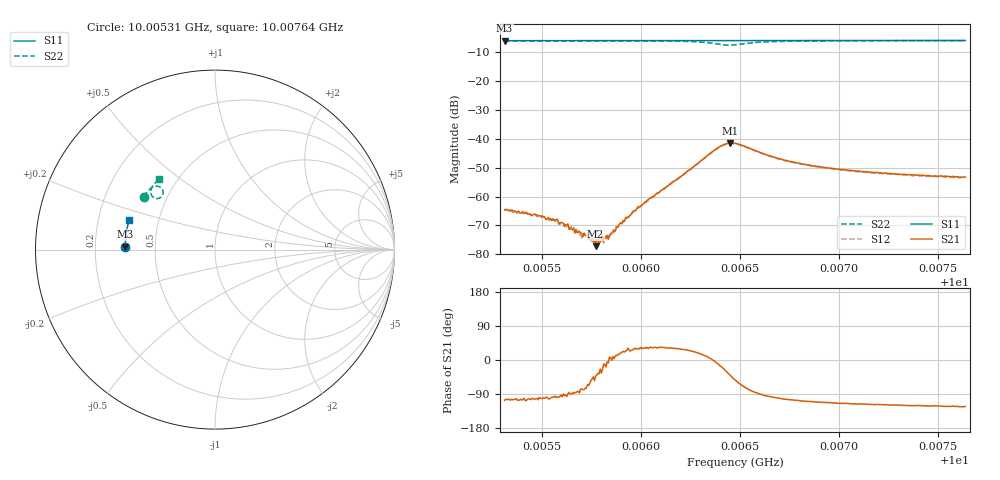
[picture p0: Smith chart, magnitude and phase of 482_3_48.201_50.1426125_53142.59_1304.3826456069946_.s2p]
#  HZ  S  RI  R  50.00
! Rohde & Schwarz Vector Network Analyzer
! Rohde-Schwarz,ZNB20-2Port,1311601062101988,3.16
! Created: UTC 3/20/2024, 11:57:43 AM
! freq[Hz]  re:S11  im:S11  re:S21  im:S21  re:S12  im:S12  re:S22  im:S22
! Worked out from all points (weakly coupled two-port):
!   401 points, 10.00531 GHz to 10.00764 GHz, reference 50 ohm
!   highest |S21| = -41.47 dB at 10.00645 GHz (marker M1); lowest = -77.2 dB at 10.00577 GHz (marker M2)
!   lowest |S11| = -6.0 dB at 10.00531 GHz (marker M3), VSWR 3.01, Z = 16.6 + j0.764 ohm
!   |S11| at or under -10 dB: nowhere
!   |S22| runs from -7.5 to -6.0 dB; largest |S21 - S12| = 0.00052
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1.0005312e10  -0.5004 0.0172  -0.000165 -0.000557  -0.000103 -0.000584  -0.398 0.2954
1.0005504e10  -0.5003 0.0299  -8.79e-05 -0.000445  -4.69e-05 -0.00046  -0.3899 0.3069
1.0005568e10  -0.5 0.034  -3.88e-05 -0.000392  -3.49e-05 -0.00037  -0.3871 0.3108
1.000565e10  -0.4999 0.0393  -1.67e-06 -0.000281  2.09e-07 -0.000301  -0.3834 0.3157
1.0005702e10  -0.4997 0.0427  5.36e-05 -0.000224  4.96e-05 -0.000184  -0.3808 0.3187
1.0005725e10  -0.4996 0.0442  5.63e-05 -0.000198  0.000103 -0.000166  -0.3795 0.3202
1.0005749e10  -0.4994 0.0458  0.000102 -0.00014  0.000122 -0.000137  -0.3784 0.3219
1.000576e10  -0.4993 0.0464  0.00012 -0.000117  0.000108 -0.000119  -0.3778 0.3225
1.0005772e10  -0.4994 0.0472  0.000101 -9.42e-05  9.88e-05 -0.000165  -0.3769 0.323
1.0005783e10  -0.4992 0.048  0.000147 -0.000104  0.000118 -0.000102  -0.3766 0.324
1.0005824e10  -0.4991 0.0507  0.000186 -6.17e-05  0.000188 -1.02e-05  -0.3741 0.3265
1.0005848e10  -0.499 0.0522  0.000219 2.35e-05  0.000231 2.8e-05  -0.3729 0.328
1.0005888e10  -0.4988 0.0548  0.000309 8.94e-05  0.000276 0.000107  -0.3703 0.3308
1.000597e10  -0.4983 0.0601  0.000492 0.000297  0.000464 0.000294  -0.3649 0.336
1.0006092e10  -0.4976 0.0681  0.000971 0.000653  0.000947 0.000675  -0.3541 0.3446
1.0006383e10  -0.4947 0.0867  0.00672 -0.000871  0.00656 -0.000527  -0.2915 0.3314
1.0006453e10  -0.4938 0.0907  0.00636 -0.00556  0.00652 -0.00507  -0.3021 0.2914
1.0006476e10  -0.4938 0.092  0.00507 -0.00665  0.00536 -0.00621  -0.3155 0.285
1.0006692e10  -0.4922 0.1058  -0.000815 -0.00452  -0.000606 -0.00449  -0.3577 0.3281
1.0006866e10  -0.49 0.1169  -0.00116 -0.00322  -0.000977 -0.00322  -0.3501 0.3491
1.0007256e10  -0.4843 0.1415  -0.00122 -0.00218  -0.0011 -0.0022  -0.3297 0.376
1.000764e10  -0.4778 0.1653  -0.00118 -0.00183  -0.00108 -0.00182  -0.3097 0.3954
